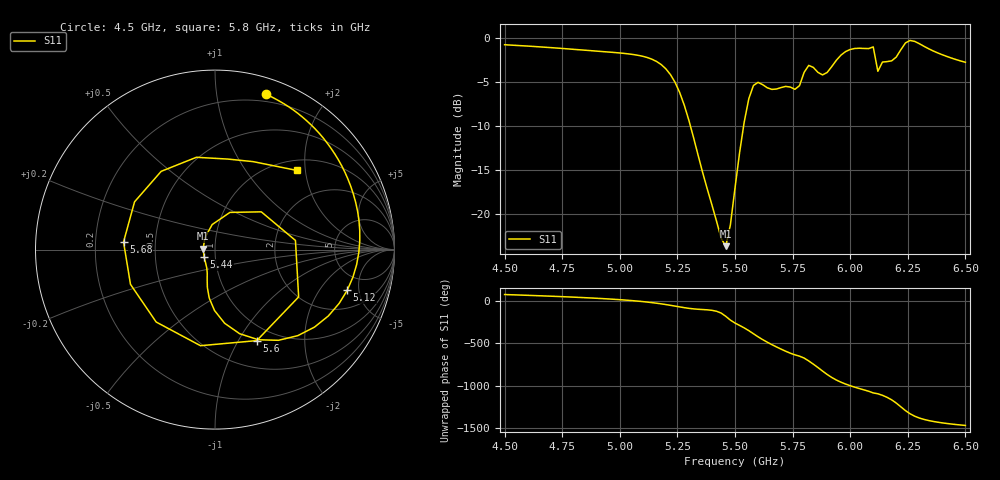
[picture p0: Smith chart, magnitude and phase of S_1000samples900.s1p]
! TOUCHSTONE file generated by CST MICROWAVE STUDIO
! Date and time: Sat Oct 29 18:06:01 2022
! Project name: L.cst
! Parameters = {Di=1.27; Epsilon_r=1.56; InnerDiameter=1.27; Length=2; Lf=10; Lg=60; OuterConductorThickness=0.2921; OuterDiameter=3.6; Wf=3; Wp=41.2; de=1.5; df=6.8; g=0.8; gx=2.26772; gy=2.06193; h=2.34; hf=1.524; px=10.0541; py=14.8849; w=9.7; wx=7.78636; wy=12.823}
! Header version: 2018
! Port assignment regex: !\s*Touchstone port\s*([0-9]+)\s*=\s*(CST MWS port|CST DS port)\s*([0-9]+|Zmin|Zmax)\s*\(\"(.*)\"\)(\s*mode\s*([0-9]+))?.*
! Touchstone port assignment:
! Touchstone port 1 = CST MWS port 1 ("")
# GHz S DB R 50
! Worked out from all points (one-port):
!   101 points, 4.5 GHz to 6.5 GHz, reference 50 ohm
!   lowest |S11| = -23.6 dB at 5.46 GHz (marker M1), VSWR 1.14, Z = 43.8 + j0.474 ohm
!   |S11| at or under -10 dB: 5.306 GHz to 5.537 GHz (231.1 MHz wide, 4.26 % of centre)
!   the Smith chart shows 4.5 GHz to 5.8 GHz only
!   S11 on the Smith chart (normalised r, x): 4.5 GHz: 0.13, +1.37; 5.12 GHz: 3.36, -3.76; 5.44 GHz: 0.88, -0.07; 5.6 GHz: 0.81, -1.20; 5.68 GHz: 0.32, +0.04; 5.8 GHz: 1.22, +1.81
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4.5  -0.81 71.9
4.76  -1.25 45.8
5  -1.74 11.4
5.12  -2.26 -17.1
5.26  -6.23 -73.7
5.44  -22.74 -146.4
5.46  -23.62 175.3
5.5  -17.05 96.4
5.54  -9.56 39.2
5.58  -5.43 -29.5
5.6  -5.07 -65.4
5.64  -5.68 -129.1
5.68  -5.83 175.2
5.76  -5.86 81.9
5.8  -3.94 43.9
5.84  -3.38 -27.5
5.88  -4.23 -109.0
5.92  -3.28 175.6
5.96  -1.98 120.0
6  -1.34 78.7
6.1  -1.05 -6.3
6.18  -2.63 -88.0
6.22  -1.37 -170.2
6.24  -0.60 145.4
6.26  -0.32 108.0
6.3  -0.69 58.3
6.34  -1.26 28.9
6.5  -2.79 -29.3
